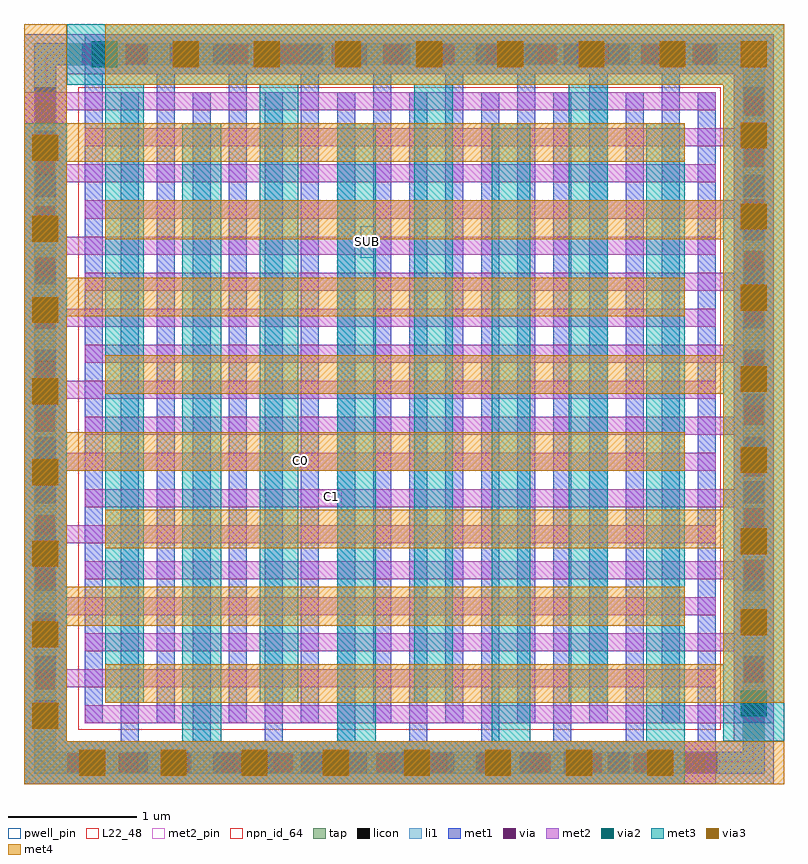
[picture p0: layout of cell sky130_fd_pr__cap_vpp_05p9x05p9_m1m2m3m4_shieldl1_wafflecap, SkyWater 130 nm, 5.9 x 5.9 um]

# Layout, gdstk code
import gdstk
lib = gdstk.Library(unit=1e-6, precision=1e-09)
def R(c, l, rs):  # rectangles x0, y0, x1, y1
    for r in rs: c.add(gdstk.rectangle(r[:2], r[2:], *l))
def A(c, l, x, y, w, h, nx, ny, dx, dy):  # array of equal rectangles
    R(c, l, [(x+i*dx, y+j*dy, x+i*dx+w, y+j*dy+h) for i in range(nx) for j in range(ny)])
def P(c, l, *ps):  # polygons
    for p in ps: c.add(gdstk.Polygon(p, *l))
L22_48 = (22, 48)
tap = (65, 44)
licon = (66, 44)
li1 = (67, 20)
met1 = (68, 20)
via = (68, 44)
met2_pin = (69, 16)
met2 = (69, 20)
via2 = (69, 44)
met3 = (70, 20)
via3 = (70, 44)
met4 = (71, 20)
npn_id_64 = (82, 64)
pwell_pin = (122, 16)

sky130_fd_pr__cap_vpp_05 = lib.new_cell('sky130_fd_pr__cap_vpp_05p9x05p9_m1m2m3m4_shieldl1_wafflecap')
R(sky130_fd_pr__cap_vpp_05, L22_48, [(0.42,0.42,5.41,5.41)])
A(sky130_fd_pr__cap_vpp_05, licon, 0.45, 0.08, 0.17, 0.17, 15, 2, 0.34, 5.5)
A(sky130_fd_pr__cap_vpp_05, licon, 0.08, 0.48, 0.17, 0.17, 1, 15, 0, 0.34)
A(sky130_fd_pr__cap_vpp_05, licon, 5.58, 0.48, 0.17, 0.17, 1, 15, 0, 0.34)
P(sky130_fd_pr__cap_vpp_05, met1, [(5.82,5.82),(0.47,5.82),(0.47,0.47),(0.61,0.47),(0.61,5.51),(1.03,5.51),(1.03,0.47),(1.17,0.47),(1.17,5.51),(1.59,5.51),(1.59,0.47),(1.73,0.47),(1.73,5.51),(2.15,5.51),(2.15,0.47),(2.29,0.47),(2.29,5.51),(2.71,5.51),(2.71,0.47),(2.85,0.47),(2.85,5.51),(3.27,5.51),(3.27,0.47),(3.41,0.47),(3.41,5.51),(3.83,5.51),(3.83,0.47),(3.97,0.47),(3.97,5.51),(4.39,5.51),(4.39,0.47),(4.53,0.47),(4.53,5.51),(4.95,5.51),(4.95,0.47),(5.09,0.47),(5.09,5.51),(5.51,5.51),(5.51,0.47),(5.82,0.47)],
  [(5.82,0.33),(5.37,0.33),(5.37,5.37),(5.23,5.37),(5.23,0.33),(4.81,0.33),(4.81,5.37),(4.67,5.37),(4.67,0.33),(4.25,0.33),(4.25,5.37),(4.11,5.37),(4.11,0.33),(3.69,0.33),(3.69,5.37),(3.55,5.37),(3.55,0.33),(3.13,0.33),(3.13,5.37),(2.99,5.37),(2.99,0.33),(2.57,0.33),(2.57,5.37),(2.43,5.37),(2.43,0.33),(2.01,0.33),(2.01,5.37),(1.87,5.37),(1.87,0.33),(1.45,0.33),(1.45,5.37),(1.31,5.37),(1.31,0.33),(0.89,0.33),(0.89,5.37),(0.75,5.37),(0.75,0.33),(0.33,0.33),(0.33,5.82),(0,5.82),(0,0),(5.82,0)])
A(sky130_fd_pr__cap_vpp_05, via, 0.335, 0.09, 0.15, 0.15, 13, 1, 0.4, 0)
A(sky130_fd_pr__cap_vpp_05, via, 0.09, 0.735, 0.15, 0.15, 1, 12, 0, 0.4)
A(sky130_fd_pr__cap_vpp_05, via, 5.59, 0.79, 0.15, 0.15, 1, 12, 0, 0.4)
A(sky130_fd_pr__cap_vpp_05, via, 0.79, 5.59, 0.15, 0.15, 12, 1, 0.4, 0)
R(sky130_fd_pr__cap_vpp_05, met2_pin, [(2.285,2.16,2.465,2.28), (2.11,2.455,2.205,2.555)])
P(sky130_fd_pr__cap_vpp_05, met2, [(5.82,5.82),(0.33,5.82),(0.33,5.51),(5.51,5.51),(5.51,5.09),(0.47,5.09),(0.47,4.95),(5.51,4.95),(5.51,4.53),(0.47,4.53),(0.47,4.39),(5.51,4.39),(5.51,3.97),(0.47,3.97),(0.47,3.83),(5.51,3.83),(5.51,3.41),(0.47,3.41),(0.47,3.27),(5.51,3.27),(5.51,2.85),(0.47,2.85),(0.47,2.71),(5.51,2.71),(5.51,2.29),(0.47,2.29),(0.47,2.15),(5.51,2.15),(5.51,1.73),(0.47,1.73),(0.47,1.59),(5.51,1.59),(5.51,1.17),(0.47,1.17),(0.47,1.03),(5.51,1.03),(5.51,0.61),(0.47,0.61),(0.47,0.47),(5.51,0.47),(5.51,0.33),(5.82,0.33)],
  [(5.37,0),(0,0),(0,5.37),(5.37,5.37),(5.37,5.23),(0.33,5.23),(0.33,4.81),(5.37,4.81),(5.37,4.67),(0.33,4.67),(0.33,4.25),(5.37,4.25),(5.37,4.11),(0.33,4.11),(0.33,3.69),(5.37,3.69),(5.37,3.55),(0.33,3.55),(0.33,3.13),(5.37,3.13),(5.37,2.99),(0.33,2.99),(0.33,2.57),(5.37,2.57),(5.37,2.43),(0.33,2.43),(0.33,2.01),(5.37,2.01),(5.37,1.87),(0.33,1.87),(0.33,1.45),(5.37,1.45),(5.37,1.31),(0.33,1.31),(0.33,0.89),(5.37,0.89),(5.37,0.75),(0.33,0.75),(0.33,0.33),(5.37,0.33)])
A(sky130_fd_pr__cap_vpp_05, via2, 0.43, 0.065, 0.2, 0.2, 8, 1, 0.63, 0)
A(sky130_fd_pr__cap_vpp_05, via2, 0.065, 0.43, 0.2, 0.2, 1, 8, 0, 0.63)
A(sky130_fd_pr__cap_vpp_05, via2, 5.565, 0.525, 0.2, 0.2, 1, 8, 0, 0.63)
A(sky130_fd_pr__cap_vpp_05, via2, 0.525, 5.565, 0.2, 0.2, 8, 1, 0.63, 0)
P(sky130_fd_pr__cap_vpp_05, met3, [(5.13,5.13),(4.83,5.13),(4.83,0.33),(3.93,0.33),(3.93,5.13),(3.63,5.13),(3.63,0.33),(2.73,0.33),(2.73,5.13),(2.43,5.13),(2.43,0.33),(1.53,0.33),(1.53,5.13),(1.23,5.13),(1.23,0.33),(0.33,0.33),(0.33,5.13),(0,5.13),(0,0),(5.13,0)],
  [(5.9,5.9),(0.33,5.9),(0.33,5.43),(0.63,5.43),(0.63,0.63),(0.93,0.63),(0.93,5.43),(1.83,5.43),(1.83,0.63),(2.13,0.63),(2.13,5.43),(3.03,5.43),(3.03,0.63),(3.33,0.63),(3.33,5.43),(4.23,5.43),(4.23,0.63),(4.53,0.63),(4.53,5.43),(5.43,5.43),(5.43,0.33),(5.9,0.33)])
A(sky130_fd_pr__cap_vpp_05, via3, 0.43, 0.065, 0.2, 0.2, 8, 1, 0.63, 0)
A(sky130_fd_pr__cap_vpp_05, via3, 0.065, 0.43, 0.2, 0.2, 1, 8, 0, 0.63)
A(sky130_fd_pr__cap_vpp_05, via3, 5.565, 1.155, 0.2, 0.2, 1, 7, 0, 0.63)
A(sky130_fd_pr__cap_vpp_05, via3, 1.155, 5.565, 0.2, 0.2, 8, 1, 0.63, 0)
P(sky130_fd_pr__cap_vpp_05, met4, [(5.9,5.9),(0.63,5.9),(0.63,5.43),(5.43,5.43),(5.43,4.53),(0.63,4.53),(0.63,4.23),(5.43,4.23),(5.43,3.33),(0.63,3.33),(0.63,3.03),(5.43,3.03),(5.43,2.13),(0.63,2.13),(0.63,1.83),(5.43,1.83),(5.43,0.93),(0.63,0.93),(0.63,0.63),(5.9,0.63)],
  [(5.9,0.33),(0.33,0.33),(0.33,1.23),(5.13,1.23),(5.13,1.53),(0.33,1.53),(0.33,2.43),(5.13,2.43),(5.13,2.73),(0.33,2.73),(0.33,3.63),(5.13,3.63),(5.13,3.93),(0.33,3.93),(0.33,4.83),(5.13,4.83),(5.13,5.13),(0.33,5.13),(0.33,5.9),(0,5.9),(0,0),(5.9,0)])
R(sky130_fd_pr__cap_vpp_05, npn_id_64, [(0.17,0.17,5.66,5.66)])
R(sky130_fd_pr__cap_vpp_05, pwell_pin, [(2.615,4.085,2.72,4.33)])
sky130_fd_pr__cap_vpp_05.add(gdstk.FlexPath([(5.665,0.08),(5.665,5.75)], 0.17, ends="flush", simple_path=True, layer=65, datatype=44))  # tap
sky130_fd_pr__cap_vpp_05.add(gdstk.FlexPath([(0.165,0.08),(0.165,5.75)], 0.17, ends="flush", simple_path=True, layer=65, datatype=44))  # tap
sky130_fd_pr__cap_vpp_05.add(gdstk.FlexPath([(5.75,5.665),(0.08,5.665)], 0.17, ends="flush", simple_path=True, layer=65, datatype=44))  # tap
sky130_fd_pr__cap_vpp_05.add(gdstk.FlexPath([(5.75,0.165),(0.08,0.165)], 0.17, ends="flush", simple_path=True, layer=65, datatype=44))  # tap
sky130_fd_pr__cap_vpp_05.add(gdstk.FlexPath([(5.665,0.08),(5.665,5.75)], 0.17, ends="flush", simple_path=True, layer=67, datatype=20))  # li1
sky130_fd_pr__cap_vpp_05.add(gdstk.FlexPath([(5.75,0.165),(0.08,0.165)], 0.17, ends="flush", simple_path=True, layer=67, datatype=20))  # li1
sky130_fd_pr__cap_vpp_05.add(gdstk.FlexPath([(0.165,0.08),(0.165,5.75)], 0.17, ends="flush", simple_path=True, layer=67, datatype=20))  # li1
sky130_fd_pr__cap_vpp_05.add(gdstk.FlexPath([(5.75,5.665),(0.08,5.665)], 0.17, ends="flush", simple_path=True, layer=67, datatype=20))  # li1
sky130_fd_pr__cap_vpp_05.add(gdstk.Label('C1', (2.39,2.235), layer=69, texttype=5))
sky130_fd_pr__cap_vpp_05.add(gdstk.Label('C0', (2.145,2.515), layer=69, texttype=5))
sky130_fd_pr__cap_vpp_05.add(gdstk.Label('SUB', (2.67,4.21), layer=64, texttype=59))

lib.write_gds('sky130_fd_pr__cap_vpp_05p9x05p9_m1m2m3m4_shieldl1_wafflecap.gds')
